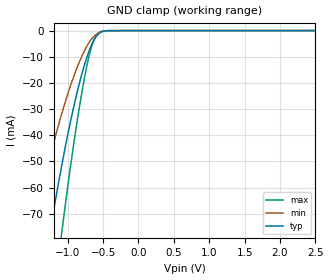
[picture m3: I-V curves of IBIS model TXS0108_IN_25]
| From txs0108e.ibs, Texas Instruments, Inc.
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[Model]   TXS0108_IN_25
Model_type  Input
Vinl=0.7
Vinh=1.7
| variable   typ   min   max
C_comp   2.95pF   2.56pF   3.27pF
[Temperature Range]   40   100   -40
| Ambient temperature   25   85   -40
[Voltage range]   2.5   2.3   2.7
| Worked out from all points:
|   GND clamp passes 1 mA (typ) near -0.55 V on its own axis
[GND Clamp]
| TXS0108_IN_25
|   Voltage   I(typ)   I(min)   I(max)
-5.5V     -1.044A    -792.1mA   -1.306A
-1.49V    -118.9mA   -76.29mA   -173.1mA
-1.245V   -76.29mA   -47.82mA   -113.4mA
-1.095V   -53.14mA   -32.79mA   -79.59mA
-1.075V   -50.26mA   -30.94mA   -75.31mA
-905mV    -28mA      -16.85mA   -41.56mA
-760mV    -12.86mA   -7.551mA   -17.68mA
-665mV    -5.596mA   -3.318mA   -6.387mA
-620mV    -3.172mA   -1.961mA   -3.091mA
-565mV    -1.281mA   -878.7uA   -956.3uA
-415mV    -38.25uA   -41.1uA    -10.09uA
2.5V      152.7pA    645pA      18.98pA
